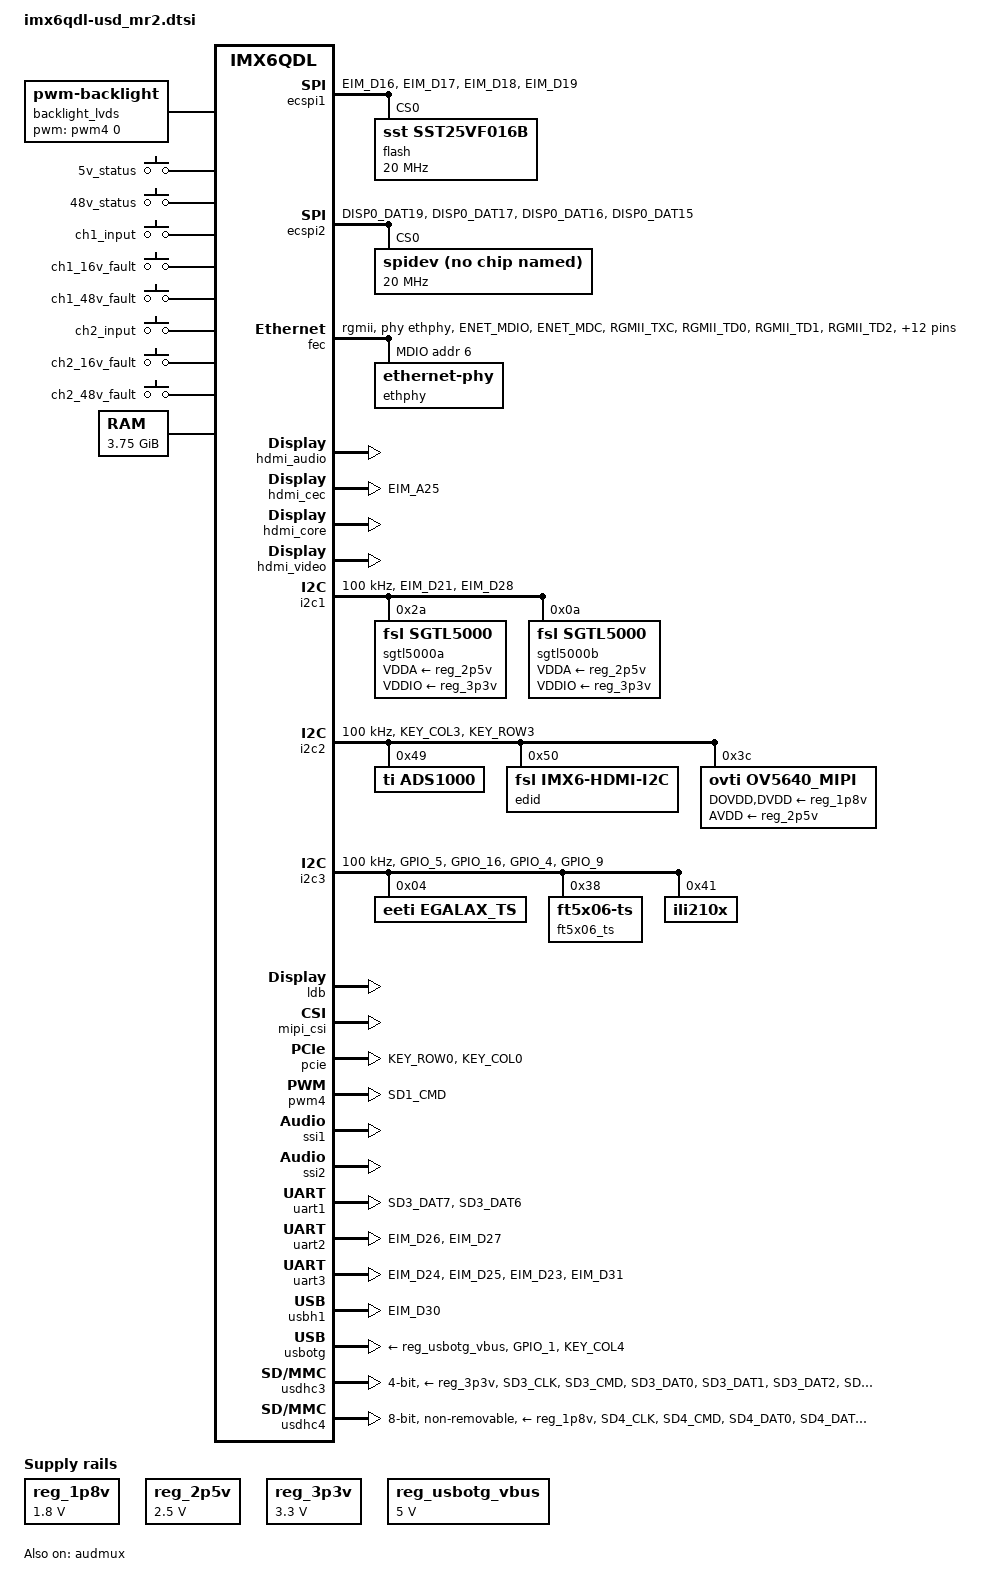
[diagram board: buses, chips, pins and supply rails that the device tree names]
/*
 * Copyright 2017 Boundary Devices, Inc.
 *
 * The code contained herein is licensed under the GNU General Public
 * License. You may obtain a copy of the GNU General Public License
 * Version 2 or later at the following locations:
 *
 * http://www.opensource.org/licenses/gpl-license.html
 * http://www.gnu.org/copyleft/gpl.html
 */
#include <dt-bindings/gpio/gpio.h>
#include <dt-bindings/input/input.h>

&iomuxc {
	pinctrl-names = "default";
	pinctrl-0 = <&pinctrl_hog>;

	iomuxc_imx6q_usd_mr2: iomuxc-imx6q-usd_mr2grp {
		status = "okay";
	};
};

&iomuxc_imx6q_usd_mr2 {
	pinctrl_audmux3: audmux3grp {
		fsl,pins = <
			MX6QDL_PAD_CSI0_DAT4__AUD3_TXC		0x130b0
			MX6QDL_PAD_CSI0_DAT5__AUD3_TXD		0x110b0
			MX6QDL_PAD_CSI0_DAT6__AUD3_TXFS		0x130b0
			MX6QDL_PAD_CSI0_DAT7__AUD3_RXD		0x130b0
		>;
	};

	pinctrl_audmux4: audmux4grp {
		fsl,pins = <
			MX6QDL_PAD_DISP0_DAT20__AUD4_TXC	0x130b0
			MX6QDL_PAD_DISP0_DAT21__AUD4_TXD	0x110b0
			MX6QDL_PAD_DISP0_DAT22__AUD4_TXFS	0x130b0
			MX6QDL_PAD_DISP0_DAT23__AUD4_RXD	0x130b0
		>;
	};

	pinctrl_backlight_lvds: backlight-lvdsgrp {
		fsl,pins = <
#define GP_LVDS_J5_PIN36	<&gpio1 2 GPIO_ACTIVE_HIGH>
			MX6QDL_PAD_EIM_CS0__GPIO2_IO23		0x030b0
		>;
	};

	pinctrl_ecspi1: ecspi1grp {
		fsl,pins = <
			MX6QDL_PAD_EIM_D16__ECSPI1_SCLK		0x000b1
			MX6QDL_PAD_EIM_D17__ECSPI1_MISO		0x100b1
			MX6QDL_PAD_EIM_D18__ECSPI1_MOSI		0x100b1
#define GP_ECSPI1_NOR_CS	<&gpio3 19 GPIO_ACTIVE_LOW>
			MX6QDL_PAD_EIM_D19__GPIO3_IO19		0x0b0b1
		>;
	};

	pinctrl_ecspi2: ecspi2grp {
		fsl,pins = <
			MX6QDL_PAD_DISP0_DAT19__ECSPI2_SCLK	0x000b1
			MX6QDL_PAD_DISP0_DAT17__ECSPI2_MISO	0x100b1
			MX6QDL_PAD_DISP0_DAT16__ECSPI2_MOSI	0x100b1
#define GP_ECSPI2_CS1		<&gpio5 9 GPIO_ACTIVE_LOW>
			MX6QDL_PAD_DISP0_DAT15__GPIO5_IO09	0x0b0b1
		>;
	};

	pinctrl_enet: enetgrp {
		fsl,pins = <
			MX6QDL_PAD_ENET_MDIO__ENET_MDIO		0x1b0b0
			MX6QDL_PAD_ENET_MDC__ENET_MDC		0x1b0b0
			MX6QDL_PAD_RGMII_TXC__RGMII_TXC		0x100b0
			MX6QDL_PAD_RGMII_TD0__RGMII_TD0		0x100b0
			MX6QDL_PAD_RGMII_TD1__RGMII_TD1		0x100b0
			MX6QDL_PAD_RGMII_TD2__RGMII_TD2		0x100b0
			MX6QDL_PAD_RGMII_TD3__RGMII_TD3		0x100b0
			MX6QDL_PAD_RGMII_TX_CTL__RGMII_TX_CTL	0x100b0
			MX6QDL_PAD_ENET_REF_CLK__ENET_TX_CLK	0x100b0
			MX6QDL_PAD_RGMII_RXC__RGMII_RXC		0x1b0b0
			MX6QDL_PAD_RGMII_RD0__RGMII_RD0		0x1b0b0
			MX6QDL_PAD_RGMII_RD1__RGMII_RD1		0x1b0b0
			MX6QDL_PAD_RGMII_RD2__RGMII_RD2		0x1b0b0
			MX6QDL_PAD_RGMII_RD3__RGMII_RD3		0x1b0b0
			MX6QDL_PAD_RGMII_RX_CTL__RGMII_RX_CTL	0x1b0b0
#define GP_ENET_PHY_RESET	<&gpio1 27 GPIO_ACTIVE_LOW>
			MX6QDL_PAD_ENET_RXD0__GPIO1_IO27	0x030b0
#define GPIRQ_ENET_PHY		<&gpio1 28 IRQ_TYPE_LEVEL_LOW>
			MX6QDL_PAD_ENET_TX_EN__GPIO1_IO28	0x1b0b0
#define GPIRQ_ENET		<&gpio1 6 IRQ_TYPE_LEVEL_HIGH>
			MX6QDL_PAD_GPIO_6__ENET_IRQ		0x000b1
		>;
	};

	pinctrl_gpio_keys: gpio-keysgrp {
		fsl,pins = <
#define GP_5V_STATUS		<&gpio4 8 GPIO_ACTIVE_HIGH>
			MX6QDL_PAD_KEY_COL1__GPIO4_IO08		0x130b0
#define GP_48V_STATUS		<&gpio4 9 GPIO_ACTIVE_HIGH>
			MX6QDL_PAD_KEY_ROW1__GPIO4_IO09		0x130b0
#define GP_CH1_INPUT		<&gpio1 8 GPIO_ACTIVE_LOW>
			MX6QDL_PAD_GPIO_8__GPIO1_IO08		0x1b0b0
#define GP_CH1_16V_FAULT	<&gpio5 5 GPIO_ACTIVE_LOW>
			MX6QDL_PAD_DISP0_DAT11__GPIO5_IO05	0x100b0
#define GP_CH1_48V_FAULT	<&gpio4 5 GPIO_ACTIVE_LOW>
			MX6QDL_PAD_GPIO_19__GPIO4_IO05		0x100b0

#define GP_CH2_INPUT		<&gpio7 12 GPIO_ACTIVE_LOW>
			MX6QDL_PAD_GPIO_17__GPIO7_IO12		0x1b0b0
#define GP_CH2_16V_FAULT	<&gpio4 28 GPIO_ACTIVE_LOW>
			MX6QDL_PAD_DISP0_DAT7__GPIO4_IO28	0x100b0
#define GP_CH2_48V_FAULT	<&gpio1 7 GPIO_ACTIVE_LOW>
			MX6QDL_PAD_GPIO_7__GPIO1_IO07		0x100b0
>;
	};

	pinctrl_hdmi_cec: hdmi_cecgrp {
		fsl,pins = <
			MX6QDL_PAD_EIM_A25__HDMI_TX_CEC_LINE	0x1f8b0
		>;
	};

	pinctrl_hog: hoggrp {
		fsl,pins = <
#define GP_CH1_16V		<&gpio5 6 GPIO_ACTIVE_HIGH>
			MX6QDL_PAD_DISP0_DAT12__GPIO5_IO06	0x030b0
#define GP_CH1_48V		<&gpio4 15 GPIO_ACTIVE_HIGH>
			MX6QDL_PAD_KEY_ROW4__GPIO4_IO15		0x030b0
#define GP_CH1_RELAY_OUT	<&gpio4 23 GPIO_ACTIVE_HIGH>
			MX6QDL_PAD_DISP0_DAT2__GPIO4_IO23	0x030b0

#define GP_CH2_16V		<&gpio4 31 GPIO_ACTIVE_HIGH>
			MX6QDL_PAD_DISP0_DAT10__GPIO4_IO31	0x030b0
#define GP_CH2_48V		<&gpio4 11 GPIO_ACTIVE_HIGH>
			MX6QDL_PAD_KEY_ROW2__GPIO4_IO11		0x030b0
#define GP_CH2_RELAY_OUT	<&gpio4 21 GPIO_ACTIVE_HIGH>
			MX6QDL_PAD_DISP0_DAT0__GPIO4_IO21	0x030b0

#define GP_LED1			<&gpio7 13 GPIO_ACTIVE_HIGH>
			MX6QDL_PAD_GPIO_18__GPIO7_IO13		0x030b0
#define GP_TP71			<&gpio1 25 GPIO_ACTIVE_LOW>
			MX6QDL_PAD_ENET_CRS_DV__GPIO1_IO25	0x1b0b0
#define GP_TP74			<&gpio2 7 GPIO_ACTIVE_LOW>
			MX6QDL_PAD_NANDF_D7__GPIO2_IO07		0x1b0b0
#define GP_TP86			<&gpio4 22 GPIO_ACTIVE_LOW>
			MX6QDL_PAD_DISP0_DAT1__GPIO4_IO22	0x1b0b0
#define GP_TP87			<&gpio4 24 GPIO_ACTIVE_LOW>
			MX6QDL_PAD_DISP0_DAT3__GPIO4_IO24	0x1b0b0
#define GP_TP88			<&gpio4 25 GPIO_ACTIVE_LOW>
			MX6QDL_PAD_DISP0_DAT4__GPIO4_IO25	0x1b0b0
#define GP_TP95			<&gpio2 30 GPIO_ACTIVE_LOW>
			MX6QDL_PAD_EIM_EB2__GPIO2_IO30		0x1b0b0
#define GP_TP96			<&gpio5 0 GPIO_ACTIVE_LOW>
			MX6QDL_PAD_EIM_WAIT__GPIO5_IO00		0x1b0b0
#define GP_TP100		<&gpio4 10 GPIO_ACTIVE_LOW>
			MX6QDL_PAD_KEY_COL2__GPIO4_IO10		0x1b0b0
#define GP_TP_R65		<&gpio1 30 GPIO_ACTIVE_LOW>
			MX6QDL_PAD_ENET_TXD0__GPIO1_IO30	0x1b0b0
#define GP_TP_R66		<&gpio1 29 GPIO_ACTIVE_LOW>
			MX6QDL_PAD_ENET_TXD1__GPIO1_IO29	0x1b0b0
		>;
	};

	pinctrl_i2c1: i2c1grp {
		fsl,pins = <
			MX6QDL_PAD_EIM_D21__I2C1_SCL		0x4001b8b1
			MX6QDL_PAD_EIM_D28__I2C1_SDA		0x4001b8b1
		>;
	};

	pinctrl_i2c1_1: i2c1_1grp {
		fsl,pins = <
#define GP_I2C1_SCL	<&gpio3 21 GPIO_ACTIVE_HIGH>
			MX6QDL_PAD_EIM_D21__GPIO3_IO21		0x4001b8b1
#define GP_I2C1_SDA	<&gpio3 28 GPIO_ACTIVE_HIGH>
			MX6QDL_PAD_EIM_D28__GPIO3_IO28		0x4001b8b1
		>;
	};

	pinctrl_i2c1_sgtl5000a: i2c1-sgtl5000agrp {
		fsl,pins = <
#define GP_CODEC_A_G1		<&gpio3 1 GPIO_ACTIVE_LOW>
			MX6QDL_PAD_EIM_DA1__GPIO3_IO01		0x0b0b0
#define GP_CODEC_A_G2		<&gpio3 0 GPIO_ACTIVE_LOW>
			MX6QDL_PAD_EIM_DA0__GPIO3_IO00		0x0b0b0
#define GP_CODEC_A_MUTE_N	<&gpio3 2 GPIO_ACTIVE_LOW>
			MX6QDL_PAD_EIM_DA2__GPIO3_IO02		0x030b0
#define GP_CODEC_A_SHTDN_N	<&gpio3 3 GPIO_ACTIVE_LOW>
			MX6QDL_PAD_EIM_DA3__GPIO3_IO03		0x030b0
#define GP_CODEC_A_FS1		<&gpio5 8 GPIO_ACTIVE_LOW>
			MX6QDL_PAD_DISP0_DAT14__GPIO5_IO08	0x0b0b0
#define GP_CODEC_A_FS2		<&gpio5 7 GPIO_ACTIVE_LOW>
			MX6QDL_PAD_DISP0_DAT13__GPIO5_IO07	0x0b0b0
#define GPIRQ_CODEC_A_MIC_DET	<&gpio5 12 IRQ_TYPE_LEVEL_LOW>
			MX6QDL_PAD_DISP0_DAT18__GPIO5_IO12	0x1b0b0
		>;
	};

	pinctrl_i2c1_sgtl5000b: i2c1-sgtl5000bgrp {
		fsl,pins = <
			MX6QDL_PAD_GPIO_0__CCM_CLKO1		0x000b0		/* sys_mclk */
#define GP_CODEC_B_G1		<&gpio4 19 GPIO_ACTIVE_LOW>
			MX6QDL_PAD_DI0_PIN3__GPIO4_IO19		0x0b0b0
#define GP_CODEC_B_G2		<&gpio4 18 GPIO_ACTIVE_LOW>
			MX6QDL_PAD_DI0_PIN2__GPIO4_IO18		0x0b0b0
#define GP_CODEC_B_MUTE_N	<&gpio3 4 GPIO_ACTIVE_LOW>
			MX6QDL_PAD_EIM_DA4__GPIO3_IO04		0x030b0
#define GP_CODEC_B_SHTDN_N	<&gpio1 15 GPIO_ACTIVE_LOW>
			MX6QDL_PAD_SD2_DAT0__GPIO1_IO15		0x030b0
#define GP_CODEC_B_FS1		<&gpio4 30 GPIO_ACTIVE_LOW>
			MX6QDL_PAD_DISP0_DAT9__GPIO4_IO30	0x0b0b0
#define GP_CODEC_B_FS2		<&gpio4 29 GPIO_ACTIVE_LOW>
			MX6QDL_PAD_DISP0_DAT8__GPIO4_IO29	0x0b0b0
#define GPIRQ_CODEC_B_MIC_DET	<&gpio7 8 IRQ_TYPE_LEVEL_LOW>
			MX6QDL_PAD_SD3_RST__GPIO7_IO08		0x1b0b0
#define GP_CODEC_B_SYNC		<&gpio1 19 GPIO_ACTIVE_LOW>
			MX6QDL_PAD_SD1_DAT2__GPIO1_IO19		0x030b0
#define GP_CODEC_B_SYNC_CHAIN	<&gpio1 17 GPIO_ACTIVE_LOW>
			MX6QDL_PAD_SD1_DAT1__GPIO1_IO17		0x030b0
		>;
	};

	pinctrl_i2c2: i2c2grp {
		fsl,pins = <
			MX6QDL_PAD_KEY_COL3__I2C2_SCL		0x4001b8b1
			MX6QDL_PAD_KEY_ROW3__I2C2_SDA		0x4001b8b1
		>;
	};

	pinctrl_i2c2_1: i2c2_1grp {
		fsl,pins = <
#define GP_I2C2_SCL	<&gpio4 12 GPIO_ACTIVE_HIGH>
			MX6QDL_PAD_KEY_COL3__GPIO4_IO12		0x4001b8b1
#define GP_I2C2_SDA	<&gpio4 13 GPIO_ACTIVE_HIGH>
			MX6QDL_PAD_KEY_ROW3__GPIO4_IO13		0x4001b8b1
		>;
	};

	pinctrl_i2c2_ov5640_mipi: i2c2-ov5640-mipigrp {
		fsl,pins = <
			MX6QDL_PAD_GPIO_3__CCM_CLKO2		0x000b0
#define GP_OV5640_MIPI_POWER_DOWN <&gpio2 27 GPIO_ACTIVE_HIGH>
			MX6QDL_PAD_EIM_LBA__GPIO2_IO27		0x0b0b0
#define GP_OV5640_MIPI_RESET	<&gpio2 25 GPIO_ACTIVE_LOW>
			MX6QDL_PAD_EIM_OE__GPIO2_IO25		0x030b0
		>;
	};

	pinctrl_i2c3: i2c3grp {
		fsl,pins = <
			MX6QDL_PAD_GPIO_5__I2C3_SCL		0x4001b8b1
			MX6QDL_PAD_GPIO_16__I2C3_SDA		0x4001b8b1
#define GP_I2C3_J7_RESET	<&gpio1 4 GPIO_ACTIVE_LOW>
			MX6QDL_PAD_GPIO_4__GPIO1_IO04		0x1b0b0
#define GPIRQ_I2C3_J7		<&gpio1 9 IRQ_TYPE_EDGE_FALLING>
#define GP_I2C3_J7		<&gpio1 9 GPIO_ACTIVE_LOW>
			MX6QDL_PAD_GPIO_9__GPIO1_IO09		0x1b0b0
		>;
	};

	pinctrl_i2c3_1: i2c3_1grp {
		fsl,pins = <
#define GP_I2C3_SCL	<&gpio1 5 GPIO_ACTIVE_HIGH>
			MX6QDL_PAD_GPIO_5__GPIO1_IO05		0x4001b8b1
#define GP_I2C3_SDA	<&gpio7 11 GPIO_ACTIVE_HIGH>
			MX6QDL_PAD_GPIO_16__GPIO7_IO11		0x4001b8b1
		>;
	};

	pinctrl_pcie: pciegrp {
		fsl,pins = <
#define GP_PCIE_RESET		<&gpio4 7 GPIO_ACTIVE_LOW>
			MX6QDL_PAD_KEY_ROW0__GPIO4_IO07		0x030b0
#define GP_PCIE_DISABLE		<&gpio4 6 GPIO_ACTIVE_LOW>
			MX6QDL_PAD_KEY_COL0__GPIO4_IO06		0x030b0
		>;
	};

	pinctrl_pwm4: pwm4grp {
		fsl,pins = <
			MX6QDL_PAD_SD1_CMD__PWM4_OUT		0x0b0b1
		>;
	};

	pinctrl_reg_usbotg_vbus: reg-usbotg-vbusgrp {
		fsl,pins = <
#define GP_REG_USBOTG		<&gpio3 22 GPIO_ACTIVE_HIGH>
			MX6QDL_PAD_EIM_D22__GPIO3_IO22		0x030b0
		>;
	};

	pinctrl_uart1: uart1grp {
		fsl,pins = <
			MX6QDL_PAD_SD3_DAT7__UART1_TX_DATA	0x1b0b1
			MX6QDL_PAD_SD3_DAT6__UART1_RX_DATA	0x1b0b1
		>;
	};

	pinctrl_uart2: uart2grp {
		fsl,pins = <
			MX6QDL_PAD_EIM_D26__UART2_TX_DATA	0x1b0b1
			MX6QDL_PAD_EIM_D27__UART2_RX_DATA	0x1b0b1
		>;
	};

	pinctrl_uart3: uart3grp {
		fsl,pins = <
			MX6QDL_PAD_EIM_D24__UART3_TX_DATA	0x1b0b1
			MX6QDL_PAD_EIM_D25__UART3_RX_DATA	0x1b0b1
			MX6QDL_PAD_EIM_D23__UART3_CTS_B		0x1b0b1
			MX6QDL_PAD_EIM_D31__UART3_RTS_B		0x1b0b1
		>;
	};

	pinctrl_usbh1: usbh1grp {
		fsl,pins = <
			MX6QDL_PAD_EIM_D30__USB_H1_OC		0x0b0b0
		>;
	};

	pinctrl_usbotg: usbotggrp {
		fsl,pins = <
			MX6QDL_PAD_GPIO_1__USB_OTG_ID		0x17059
			MX6QDL_PAD_KEY_COL4__USB_OTG_OC		0x1b0b0
		>;
	};

	pinctrl_usdhc3: usdhc3grp {
		fsl,pins = <
			MX6QDL_PAD_SD3_CLK__SD3_CLK		0x10059
			MX6QDL_PAD_SD3_CMD__SD3_CMD		0x17059
			MX6QDL_PAD_SD3_DAT0__SD3_DATA0		0x17059
			MX6QDL_PAD_SD3_DAT1__SD3_DATA1		0x17059
			MX6QDL_PAD_SD3_DAT2__SD3_DATA2		0x17059
			MX6QDL_PAD_SD3_DAT3__SD3_DATA3		0x17059
#define GP_USDHC3_CD	<&gpio7 0 GPIO_ACTIVE_LOW>
			MX6QDL_PAD_SD3_DAT5__GPIO7_IO00		0x1b0b0
		>;
	};

	pinctrl_usdhc4: usdhc4grp {
		fsl,pins = <
			MX6QDL_PAD_SD4_CLK__SD4_CLK		0x10071
			MX6QDL_PAD_SD4_CMD__SD4_CMD		0x17071
			MX6QDL_PAD_SD4_DAT0__SD4_DATA0		0x17071
			MX6QDL_PAD_SD4_DAT1__SD4_DATA1		0x17071
			MX6QDL_PAD_SD4_DAT2__SD4_DATA2		0x17071
			MX6QDL_PAD_SD4_DAT3__SD4_DATA3		0x17071
			MX6QDL_PAD_SD4_DAT4__SD4_DATA4		0x17071
			MX6QDL_PAD_SD4_DAT5__SD4_DATA5		0x17071
			MX6QDL_PAD_SD4_DAT6__SD4_DATA6		0x17071
			MX6QDL_PAD_SD4_DAT7__SD4_DATA7		0x17071
#define GP_EMMC_RESET	<&gpio2 6 GPIO_ACTIVE_LOW>
			MX6QDL_PAD_NANDF_D6__GPIO2_IO06		0x1b0b0
		>;
	};
};

/ {
	aliases {
		backlight_lvds = &backlight_lvds;
		fb_hdmi = &fb_hdmi;
		fb_lvds = &fb_lvds;
		ldb = &ldb;
		mmc0 = &usdhc3;
		mmc1 = &usdhc4;
		mxcfb0 = &fb_hdmi;
		mxcfb1 = &fb_lvds;
		pwm_lvds = &pwm4;
		t_lvds = &t_lvds;
	};

	backlight_lvds: backlight_lvds {
		brightness-levels = <0 1 2 3 4 5 6 7 8 9 10>;
		compatible = "pwm-backlight";
		default-brightness-level = <9>;
		display = <&fb_lvds>;
		enable-gpios = GP_LVDS_J5_PIN36;
		pinctrl-names = "default";
		pinctrl-0 = <&pinctrl_backlight_lvds>;
		pwms = <&pwm4 0 200000>;
	};

	fb_hdmi: fb@0 {
		compatible = "fsl,mxc_sdc_fb";
		disp_dev = "hdmi";
		interface_pix_fmt = "RGB24";
		mode_str ="1280x720M@60";
		default_bpp = <32>;
		int_clk = <0>;
		late_init = <0>;
		status = "okay";
	};

	fb_lvds: fb@1 {
		compatible = "fsl,mxc_sdc_fb";
		disp_dev = "ldb";
		interface_pix_fmt = "RGB666";
		default_bpp = <32>;
		int_clk = <0>;
		late_init = <0>;
		status = "disabled";
	};

	gpio-keys {
		compatible = "gpio-keys";
		pinctrl-names = "default";
		pinctrl-0 = <&pinctrl_gpio_keys>;

		5v_status {
			label = "5v_status";
			gpios = GP_5V_STATUS;
			linux,code = <KEY_FN_F1>;
		};

		48v_status {
			label = "48v_status";
			gpios = GP_48V_STATUS;
			linux,code = <KEY_FN_F2>;
		};

		ch1_input {
			label = "ch1_input";
			gpios = GP_CH1_INPUT;
			linux,code = <KEY_FN_F4>;
		};

		ch1_16v_fault {
			label = "ch1_16v_fault";
			gpios = GP_CH1_16V_FAULT;
			linux,code = <KEY_FN_F5>;
		};

		ch1_48v_fault {
			label = "ch1_48v_fault";
			gpios = GP_CH1_48V_FAULT;
			linux,code = <KEY_FN_F6>;
		};

		ch2_input {
			label = "ch2_input";
			gpios = GP_CH2_INPUT;
			linux,code = <KEY_FN_F7>;
		};

		ch2_16v_fault {
			label = "ch2_16v_fault";
			gpios = GP_CH2_16V_FAULT;
			linux,code = <KEY_FN_F8>;
		};

		ch2_48v_fault {
			label = "ch2_48v_fault";
			gpios = GP_CH2_48V_FAULT;
			linux,code = <KEY_FN_F9>;
		};
	};

	memory {
		reg = <0x10000000 0xeffffc00>;
	};

	regulators {
		compatible = "simple-bus";
		#address-cells = <1>;
		#size-cells = <0>;

		reg_1p8v: regulator@0 {
			compatible = "regulator-fixed";
			reg = <0>;
			regulator-name = "1P8V";
			regulator-min-microvolt = <1800000>;
			regulator-max-microvolt = <1800000>;
			regulator-always-on;
		};

		reg_2p5v: regulator@1 {
			compatible = "regulator-fixed";
			reg = <1>;
			regulator-name = "2P5V";
			regulator-min-microvolt = <2500000>;
			regulator-max-microvolt = <2500000>;
			regulator-always-on;
		};

		reg_3p3v: regulator@2 {
			compatible = "regulator-fixed";
			reg = <2>;
			regulator-name = "3P3V";
			regulator-min-microvolt = <3300000>;
			regulator-max-microvolt = <3300000>;
			regulator-always-on;
		};

		reg_usbotg_vbus: regulator@3 {
			compatible = "regulator-fixed";
			reg = <3>;
			pinctrl-names = "default";
			pinctrl-0 = <&pinctrl_reg_usbotg_vbus>;
			regulator-name = "usb_otg_vbus";
			regulator-min-microvolt = <5000000>;
			regulator-max-microvolt = <5000000>;
			gpio = GP_REG_USBOTG;
			enable-active-high;
		};
	};

	sound_a {
		compatible = "fsl,imx6q-usd-sgtl5000",
			     "fsl,imx-audio-sgtl5000";
		model = "sgtl5000-audio-a";
		ssi-controller = <&ssi1>;
		audio-codec = <&sgtl5000a>;
		audio-routing =
			"MIC_IN", "Mic Jack",
			"Mic Jack", "Mic Bias",
			"LINE_IN", "Line In Jack",
			"Ext Spk", "HP_OUT",
			"Line Out Jack", "LINE_OUT";
		mux-int-port = <1>;
		mux-ext-port = <4>;
		mute-gpios = GP_CODEC_A_MUTE_N;
		/* delay between mute and standby enter */
		amp-standby-enter-wait-ms = <50>;
		/* delay between standby exit and unmute */
		amp-standby-exit-delay-ms = <100>;
		amp-standby-gpios = GP_CODEC_A_SHTDN_N;
		amp-gain-gpios = GP_CODEC_A_G1, GP_CODEC_A_G2;
		amp-gain-seq = /bits/ 8 <1 0 2 3>;
	};

	sound_b {
		compatible = "fsl,imx6q-usd-sgtl5000",
			     "fsl,imx-audio-sgtl5000";
		model = "sgtl5000-audio-b";
		ssi-controller = <&ssi2>;
		audio-codec = <&sgtl5000b>;
		audio-routing =
			"MIC_IN", "Mic Jack",
			"Mic Jack", "Mic Bias",
			"LINE_IN", "Line In Jack",
			"Ext Spk", "HP_OUT",
			"Line Out Jack", "LINE_OUT";
		mux-int-port = <2>;
		mux-ext-port = <3>;
		mute-gpios = GP_CODEC_B_MUTE_N;
		/* delay between mute and standby enter */
		amp-standby-enter-wait-ms = <50>;
		/* delay between standby exit and unmute */
		amp-standby-exit-delay-ms = <100>;
		amp-standby-gpios = GP_CODEC_B_SHTDN_N;
		amp-gain-gpios = GP_CODEC_B_G1, GP_CODEC_B_G2;
		amp-gain-seq = /bits/ 8 <1 0 2 3>;
	};

	sound-hdmi {
		compatible = "fsl,imx6q-audio-hdmi",
			     "fsl,imx-audio-hdmi";
		model = "imx-audio-hdmi";
		hdmi-controller = <&hdmi_audio>;
	};

	v4l2_cap_0 {
		compatible = "fsl,imx6q-v4l2-capture";
		ipu_id = <0>;
		csi_id = <0>;
		mipi_camera = <1>;
		mclk_source = <0>;
		status = "okay";
	};

	v4l2_out {
		compatible = "fsl,mxc_v4l2_output";
		status = "okay";
	};
};

&audmux {
	pinctrl-names = "default";
	pinctrl-0 = <&pinctrl_audmux3>,<&pinctrl_audmux4>;
	status = "okay";
};

&ecspi1 {
	pinctrl-names = "default";
	pinctrl-0 = <&pinctrl_ecspi1>;
	fsl,spi-num-chipselects = <1>;
	cs-gpios = GP_ECSPI1_NOR_CS;
	status = "okay";

	flash: m25p80@0 {
		compatible = "sst,sst25vf016b";
		spi-max-frequency = <20000000>;
		reg = <0>;
		#address-cells = <1>;
		#size-cells = <1>;
		mtd@00000000 {
			label = "U-Boot";
			reg = <0x0 0xC0000>;
		};

		mtd@000C0000 {
			label = "env";
			reg = <0xC0000 0x2000>;
		};
		mtd@000C2000 {
			label = "splash";
			reg = <0xC2000 0x13e000>;
		};
	};
};

&ecspi2 {
	fsl,spi-num-chipselects = <1>;
	cs-gpios = GP_ECSPI2_CS1;
	pinctrl-names = "default";
	pinctrl-0 = <&pinctrl_ecspi2>;
	status = "okay";

	spidev@0 {
		compatible = "spidev";
		spi-max-frequency = <20000000>;
		reg = <0>;
	};
};

&fec {
	interrupts-extended = GPIRQ_ENET,
			      <&gpc 0 119 IRQ_TYPE_LEVEL_HIGH>;
	phy-handle = <&ethphy>;
	phy-mode = "rgmii";
#if 0
	phy-reset-gpios = GP_ENET_PHY_RESET;
#endif
	pinctrl-names = "default";
	pinctrl-0 = <&pinctrl_enet>;
	status = "okay";

	mdio {
		#address-cells = <0>;
		#size-cells = <1>;

		ethphy: ethernet-phy@6 {
			reg = <6>;
			interrupts-extended = GPIRQ_ENET_PHY;
		};
	};
};

&hdmi_audio {
	status = "okay";
};

&hdmi_cec {
	pinctrl-names = "default";
	pinctrl-0 = <&pinctrl_hdmi_cec>;
	status = "okay";
};

&hdmi_core {
	ipu_id = <0>;
	disp_id = <0>;
	status = "okay";
};

&hdmi_video {
	fsl,phy_reg_vlev = <0x0294>;
	fsl,phy_reg_cksymtx = <0x800d>;
	status = "okay";
};

&i2c1 {
	clock-frequency = <100000>;
	pinctrl-names = "default", "gpio";
	pinctrl-0 = <&pinctrl_i2c1>;
	pinctrl-1 = <&pinctrl_i2c1_1>;
	scl-gpios = GP_I2C1_SCL;
	sda-gpios = GP_I2C1_SDA;
	status = "okay";

	sgtl5000a: sgtl5000@2a {
		compatible = "fsl,sgtl5000";
		pinctrl-names = "default";
		pinctrl-0 = <&pinctrl_i2c1_sgtl5000a>;
		reg = <0x2a>;
		clocks = <&clks IMX6QDL_CLK_CKO>;
		VDDA-supply = <&reg_2p5v>;
		VDDIO-supply = <&reg_3p3v>;
	};

	sgtl5000b: sgtl5000@0a {
		compatible = "fsl,sgtl5000";
		pinctrl-names = "default";
		pinctrl-0 = <&pinctrl_i2c1_sgtl5000b>;
		reg = <0x0a>;
		clocks = <&clks IMX6QDL_CLK_CKO>;
		VDDA-supply = <&reg_2p5v>;
		VDDIO-supply = <&reg_3p3v>;
	};
};

&i2c2 {
	clock-frequency = <100000>;
	pinctrl-names = "default", "gpio";
	pinctrl-0 = <&pinctrl_i2c2>;
	pinctrl-1 = <&pinctrl_i2c2_1>;
	scl-gpios = GP_I2C2_SCL;
	sda-gpios = GP_I2C2_SDA;
	status = "okay";

	ads1000@49 {
		compatible = "ti,ads1000";
		reg = <0x49>;
	};

	edid@50 {
		compatible = "fsl,imx6-hdmi-i2c";
		reg = <0x50>;
	};

	ov5640_mipi: ov5640_mipi@3c {
		compatible = "ovti,ov5640_mipi";
		reg = <0x3c>;
		pinctrl-names = "default";
		pinctrl-0 = <&pinctrl_i2c2_ov5640_mipi>;
		clocks = <&clks IMX6QDL_CLK_CKO2>;
		clock-names = "csi_mclk";
		DOVDD-supply = <&reg_1p8v>;
		AVDD-supply = <&reg_2p5v>;
		DVDD-supply = <&reg_1p8v>;
		pwn-gpios = GP_OV5640_MIPI_POWER_DOWN;
		rst-gpios = GP_OV5640_MIPI_RESET;
		ipu_id = <0>;
		csi_id = <0>;
		mclk = <24000000>;
		mclk_source = <0>;
		assigned-clocks        = <&clks IMX6QDL_CLK_CKO2_SEL>;
		assigned-clock-parents = <&clks IMX6QDL_CLK_OSC>;
	};
};

&i2c3 {
	clock-frequency = <100000>;
	pinctrl-names = "default", "gpio";
	pinctrl-0 = <&pinctrl_i2c3>;
	pinctrl-1 = <&pinctrl_i2c3_1>;
	scl-gpios = GP_I2C3_SCL;
	sda-gpios = GP_I2C3_SDA;
	status = "okay";

	egalax_ts@04 {
		compatible = "eeti,egalax_ts";
		reg = <0x04>;
		interrupts-extended = GPIRQ_I2C3_J7;
		wakeup-gpios = GP_I2C3_J7;
	};

	ft5x06_ts@38 {
		compatible = "ft5x06-ts";
		reg = <0x38>;
		interrupts-extended = GPIRQ_I2C3_J7;
		wakeup-gpios = GP_I2C3_J7;
		reset-gpios = GP_I2C3_J7_RESET;
	};

	ili210x@41 {
		compatible = "ili210x";
		reg = <0x41>;
		interrupts-extended = GPIRQ_I2C3_J7;
		wakeup-gpios = GP_I2C3_J7;
	};
};

&ldb {
	status = "okay";

	lvds-channel@0 {
		crtc = "ipu1-di1";
		fsl,data-mapping = "spwg";
		fsl,data-width = <18>;
		primary;
		status = "okay";

		display-timings {
			t_lvds: t_lvds_default {
				clock-frequency = <68936991>;
				hactive = <1280>;
				vactive = <800>;
				hback-porch = <48>;
				hfront-porch = <48>;
				vback-porch = <8>;
				vfront-porch = <2>;
				hsync-len = <32>;
				vsync-len = <6>;
			};
		};
	};
};

&mipi_csi {
	lanes = <2>;
	status = "okay";
};

&pcie {
	pinctrl-names = "default";
	pinctrl-0 = <&pinctrl_pcie>;
	reset-gpios = GP_PCIE_RESET;
	status = "okay";
};

&pwm4 {
	pinctrl-names = "default";
	pinctrl-0 = <&pinctrl_pwm4>;
	status = "okay";
};

&ssi1 {
	fsl,mode = "i2s-slave";
	status = "okay";
};

&ssi2 {
	fsl,mode = "i2s-slave";
	status = "okay";
};

&uart1 {
	pinctrl-names = "default";
	pinctrl-0 = <&pinctrl_uart1>;
	status = "okay";
};

&uart2 {
	pinctrl-names = "default";
	pinctrl-0 = <&pinctrl_uart2>;
	status = "okay";
};

&uart3 {
	pinctrl-names = "default";
	pinctrl-0 = <&pinctrl_uart3>;
	uart-has-rtscts;
	status = "okay";
};

&usbh1 {
	pinctrl-names = "default";
	pinctrl-0 = <&pinctrl_usbh1>;
	status = "okay";
};

&usbotg {
	vbus-supply = <&reg_usbotg_vbus>;
	pinctrl-names = "default";
	pinctrl-0 = <&pinctrl_usbotg>;
	status = "okay";
};

&usdhc3 {
	pinctrl-names = "default";
	pinctrl-0 = <&pinctrl_usdhc3>;
	bus-width = <4>;
	cd-gpios = GP_USDHC3_CD;
	vmmc-supply = <&reg_3p3v>;
	status = "okay";
};

&usdhc4 {
	pinctrl-names = "default";
	pinctrl-0 = <&pinctrl_usdhc4>;
	bus-width = <8>;
	non-removable;
	vqmmc-1-8-v;
	vmmc-supply = <&reg_1p8v>;
	keep-power-in-suspend;
	status = "okay";
};
